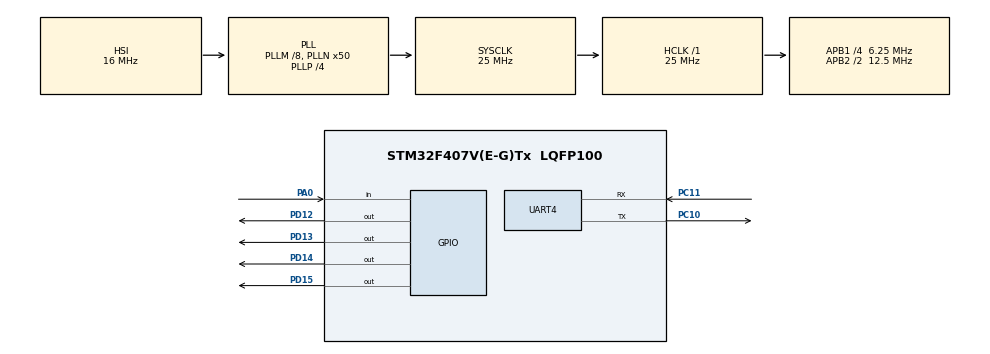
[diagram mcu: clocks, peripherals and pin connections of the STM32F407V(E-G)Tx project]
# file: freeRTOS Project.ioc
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Mcu.Family=STM32F4
Mcu.Name=STM32F407V(E-G)Tx
Mcu.Package=LQFP100
NVIC.PriorityGroup=NVIC_PRIORITYGROUP_4
NVIC.TIM6_DAC_IRQn=true\:0\:0\:false\:false\:true\:false\:true\:true
NVIC.TimeBase=TIM6_DAC_IRQn
NVIC.TimeBaseIP=TIM6
NVIC.UART4_IRQn=true\:6\:0\:true\:false\:true\:true\:true\:true
PA0-WKUP.Signal=GPIO_Input
PC10.Mode=Asynchronous
PC10.Signal=UART4_TX
PC11.Mode=Asynchronous
PC11.Signal=UART4_RX
PD12.Signal=GPIO_Output
PD13.Signal=GPIO_Output
PD14.Signal=GPIO_Output
PD15.Signal=GPIO_Output
PH0-OSC_IN.Mode=HSE-External-Oscillator
PH0-OSC_IN.Signal=RCC_OSC_IN
PH1-OSC_OUT.Mode=HSE-External-Oscillator
PH1-OSC_OUT.Signal=RCC_OSC_OUT
ProjectManager.HeapSize=0x200
ProjectManager.StackSize=0x400
ProjectManager.TargetToolchain=STM32CubeIDE
RCC.48MHZClocksFreq_Value=14285714.285714285
RCC.AHBFreq_Value=25000000
RCC.APB1CLKDivider=RCC_HCLK_DIV4
RCC.APB1Freq_Value=6250000
RCC.APB1TimFreq_Value=12500000
RCC.APB2CLKDivider=RCC_HCLK_DIV2
RCC.APB2Freq_Value=12500000
RCC.APB2TimFreq_Value=25000000
RCC.CortexFreq_Value=25000000
RCC.HCLKFreq_Value=25000000
RCC.HSE_VALUE=8000000
RCC.HSI_VALUE=16000000
RCC.LSE_VALUE=32768
RCC.PLLM=8
RCC.PLLN=50
RCC.PLLP=RCC_PLLP_DIV4
RCC.PLLQ=7
RCC.SYSCLKFreq_VALUE=25000000
RCC.SYSCLKSource=RCC_SYSCLKSOURCE_PLLCLK
RCC.VCOOutputFreq_Value=100000000
RTC.HourFormat=RTC_HOURFORMAT_12
UART4.VirtualMode=Asynchronous
VP_RTC_VS_RTC_Activate.Mode=RTC_Enabled
VP_SYS_VS_tim6.Mode=TIM6
board=STM32F407G-DISC1

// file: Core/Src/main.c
/* USER CODE BEGIN Header */
/**
  ******************************************************************************
  * @file           : main.c
  * @brief          : Main program body
  ******************************************************************************
  * @attention
  *
  * Copyright (c) 2025 STMicroelectronics.
  * All rights reserved.
  *
  * This software is licensed under terms that can be found in the LICENSE file
  * in the root directory of this software component.
  * If no LICENSE file comes with this software, it is provided AS-IS.
  *
  ******************************************************************************
  */
/* USER CODE END Header */
#include "main.h"

/* USER CODE BEGIN Includes */
#include <stdio.h>
#include "FreeRTOS.h"
#include "task.h"
#include "queue.h"
/* USER CODE END Includes */

RTC_HandleTypeDef hrtc;

UART_HandleTypeDef huart4;

/* USER CODE BEGIN PV */
TaskHandle_t handle_menu_task;
TaskHandle_t handle_cmd_task;
TaskHandle_t handle_print_task;
TaskHandle_t handle_led_task;
TaskHandle_t handle_rtc_task;

QueueHandle_t q_data;
QueueHandle_t q_print;

//software timer
TimerHandle_t handle_led_timer[4];
volatile uint8_t user_data;
state_t curr_state =sMainMenu;
/* USER CODE END PV */

void SystemClock_Config(void);
static void MX_GPIO_Init(void);
static void MX_UART4_Init(void);
static void MX_RTC_Init(void);
/* USER CODE BEGIN PFP */
void led_effect_callback(TimerHandle_t xTimer);
/* USER CODE END PFP */

int main(void)
{

  /* USER CODE BEGIN 1 */
  BaseType_t status;
  /* USER CODE END 1 */

  /* MCU Configuration--------------------------------------------------------*/

  /* Reset of all peripherals, Initializes the Flash interface and the Systick. */
  HAL_Init();

  /* Configure the system clock */
  SystemClock_Config();

  /* Initialize all configured peripherals */
  MX_GPIO_Init();
  MX_UART4_Init();
  MX_RTC_Init();
  /* USER CODE BEGIN 2 */
  status = xTaskCreate(menu_task, "menu_task", 250, NULL, 2, &handle_menu_task);
  configASSERT(status == pdPASS);

  status = xTaskCreate(cmd_handler_task, "cmd_task", 250, NULL, 2, &handle_cmd_task);
  configASSERT(status == pdPASS);

  status = xTaskCreate(print_task, "print_task", 250,NULL, 2, &handle_print_task);
  configASSERT(status == pdPASS);

  status = xTaskCreate(led_task, "led_task", 250,NULL, 2, &handle_led_task);
  configASSERT(status == pdPASS);

//  status = xTaskCreate(rtc_task, "rtc_task", 250,NULL, 2, &handle_rtc_task);
//  configASSERT(status == pdPASS);

  q_data = xQueueCreate(10,sizeof(char));
  configASSERT(q_data != NULL);

  q_print = xQueueCreate(10,sizeof(size_t));
  configASSERT(q_print != NULL);

  for ( int i = 0;  i < 4; i++) {

	  handle_led_timer[i] = xTimerCreate("led_timer",pdMS_TO_TICKS(500),pdTRUE,(void*)(i+1),led_effect_callback);
  }

  HAL_UART_Receive_IT(&huart4, (uint8_t*)&user_data,1);

  vTaskStartScheduler();
  /* USER CODE END 2 */

  /* Infinite loop */
  while (1)
  {

  }
}

void SystemClock_Config(void)
{
  RCC_OscInitTypeDef RCC_OscInitStruct = {0};
  RCC_ClkInitTypeDef RCC_ClkInitStruct = {0};

  /** Configure the main internal regulator output voltage
  */
  __HAL_RCC_PWR_CLK_ENABLE();
  __HAL_PWR_VOLTAGESCALING_CONFIG(PWR_REGULATOR_VOLTAGE_SCALE1);

  /** Initializes the RCC Oscillators according to the specified parameters
  * in the RCC_OscInitTypeDef structure.
  */
  RCC_OscInitStruct.OscillatorType = RCC_OSCILLATORTYPE_HSI|RCC_OSCILLATORTYPE_LSI;
  RCC_OscInitStruct.HSIState = RCC_HSI_ON;
  RCC_OscInitStruct.HSICalibrationValue = RCC_HSICALIBRATION_DEFAULT;
  RCC_OscInitStruct.LSIState = RCC_LSI_ON;
  RCC_OscInitStruct.PLL.PLLState = RCC_PLL_ON;
  RCC_OscInitStruct.PLL.PLLSource = RCC_PLLSOURCE_HSI;
  RCC_OscInitStruct.PLL.PLLM = 8;
  RCC_OscInitStruct.PLL.PLLN = 50;
  RCC_OscInitStruct.PLL.PLLP = RCC_PLLP_DIV4;
  RCC_OscInitStruct.PLL.PLLQ = 7;
  if (HAL_RCC_OscConfig(&RCC_OscInitStruct) != HAL_OK)
  {
    Error_Handler();
  }

  /** Initializes the CPU, AHB and APB buses clocks
  */
  RCC_ClkInitStruct.ClockType = RCC_CLOCKTYPE_HCLK|RCC_CLOCKTYPE_SYSCLK
                              |RCC_CLOCKTYPE_PCLK1|RCC_CLOCKTYPE_PCLK2;
  RCC_ClkInitStruct.SYSCLKSource = RCC_SYSCLKSOURCE_PLLCLK;
  RCC_ClkInitStruct.AHBCLKDivider = RCC_SYSCLK_DIV1;
  RCC_ClkInitStruct.APB1CLKDivider = RCC_HCLK_DIV4;
  RCC_ClkInitStruct.APB2CLKDivider = RCC_HCLK_DIV2;

  if (HAL_RCC_ClockConfig(&RCC_ClkInitStruct, FLASH_LATENCY_0) != HAL_OK)
  {
    Error_Handler();
  }
}

static void MX_RTC_Init(void)
{

  /** Initialize RTC Only
  */
  hrtc.Instance = RTC;
  hrtc.Init.HourFormat = RTC_HOURFORMAT_12;
  hrtc.Init.AsynchPrediv = 127;
  hrtc.Init.SynchPrediv = 255;
  hrtc.Init.OutPut = RTC_OUTPUT_DISABLE;
  hrtc.Init.OutPutPolarity = RTC_OUTPUT_POLARITY_HIGH;
  hrtc.Init.OutPutType = RTC_OUTPUT_TYPE_OPENDRAIN;
  if (HAL_RTC_Init(&hrtc) != HAL_OK)
  {
    Error_Handler();
  }

}

static void MX_UART4_Init(void)
{

  huart4.Instance = UART4;
  huart4.Init.BaudRate = 115200;
  huart4.Init.WordLength = UART_WORDLENGTH_8B;
  huart4.Init.StopBits = UART_STOPBITS_1;
  huart4.Init.Parity = UART_PARITY_NONE;
  huart4.Init.Mode = UART_MODE_TX_RX;
  huart4.Init.HwFlowCtl = UART_HWCONTROL_NONE;
  huart4.Init.OverSampling = UART_OVERSAMPLING_16;
  if (HAL_UART_Init(&huart4) != HAL_OK)
  {
    Error_Handler();
  }

}

static void MX_GPIO_Init(void)
{
  GPIO_InitTypeDef GPIO_InitStruct = {0};

  /* GPIO Ports Clock Enable */
  __HAL_RCC_GPIOH_CLK_ENABLE();
  __HAL_RCC_GPIOA_CLK_ENABLE();
  __HAL_RCC_GPIOD_CLK_ENABLE();
  __HAL_RCC_GPIOC_CLK_ENABLE();

  /*Configure GPIO pin Output Level */
  HAL_GPIO_WritePin(GPIOD, GPIO_PIN_12|GPIO_PIN_13|GPIO_PIN_14|GPIO_PIN_15, GPIO_PIN_RESET);

  /*Configure GPIO pin : PA0 */
  GPIO_InitStruct.Pin = GPIO_PIN_0;
  GPIO_InitStruct.Mode = GPIO_MODE_INPUT;
  GPIO_InitStruct.Pull = GPIO_NOPULL;
  HAL_GPIO_Init(GPIOA, &GPIO_InitStruct);

  /*Configure GPIO pins : PD12 PD13 PD14 PD15 */
  GPIO_InitStruct.Pin = GPIO_PIN_12|GPIO_PIN_13|GPIO_PIN_14|GPIO_PIN_15;
  GPIO_InitStruct.Mode = GPIO_MODE_OUTPUT_PP;
  GPIO_InitStruct.Pull = GPIO_NOPULL;
  GPIO_InitStruct.Speed = GPIO_SPEED_FREQ_LOW;
  HAL_GPIO_Init(GPIOD, &GPIO_InitStruct);

}

/* USER CODE BEGIN 4 */
void led_effect_callback(TimerHandle_t xTimer){

	int id;
	id = (uint32_t) pvTimerGetTimerID(xTimer);
	switch (id) {
		case 1:
			LED_effect1();
			break;
		case 2:
			LED_effect2();
			break;
		case 3:
			LED_effect3();
			break;
		case 4:
			LED_effect4();
			break;
		default:
			break;
	}
}
void HAL_UART_RxCpltCallback(UART_HandleTypeDef *huart)
{
	uint8_t dummy;
	if(!xQueueIsQueueFullFromISR(q_data)){

		xQueueSendFromISR(q_data,(void*)&user_data,NULL);
	} else {

		if(user_data == '\n') {

			xQueueReceiveFromISR(q_data, (void*)&dummy, NULL); // eski veri çıkarılır
			xQueueSendFromISR(q_data,(void*)&user_data,NULL);
		}

	}

	if(user_data == '\n'){

		xTaskNotifyFromISR(handle_cmd_task,0,eNoAction,NULL);
	}

	HAL_UART_Receive_IT(&huart4, (uint8_t*)&user_data, 1);

}
void vApplicationStackOverflowHook(TaskHandle_t xTask, char *pcTaskName)
{
    /* Bu fonksiyon bir task'in stack'i taştığında otomatik çalışır. */

    printf("!! STACK OVERFLOW !! Task: %s\n", pcTaskName);

    /* Burada LED yakmak, log atmak veya debug breakpoint koymak iyi fikir olabilir */
    for(;;);  // Sistemi durdur (ya da reset atabilirsin)
}
/* USER CODE END 4 */

void HAL_TIM_PeriodElapsedCallback(TIM_HandleTypeDef *htim)
{
  if (htim->Instance == TIM6)
  {
    HAL_IncTick();
  }
}

void Error_Handler(void)
{
  __disable_irq();
  while (1)
  {
  }
}
